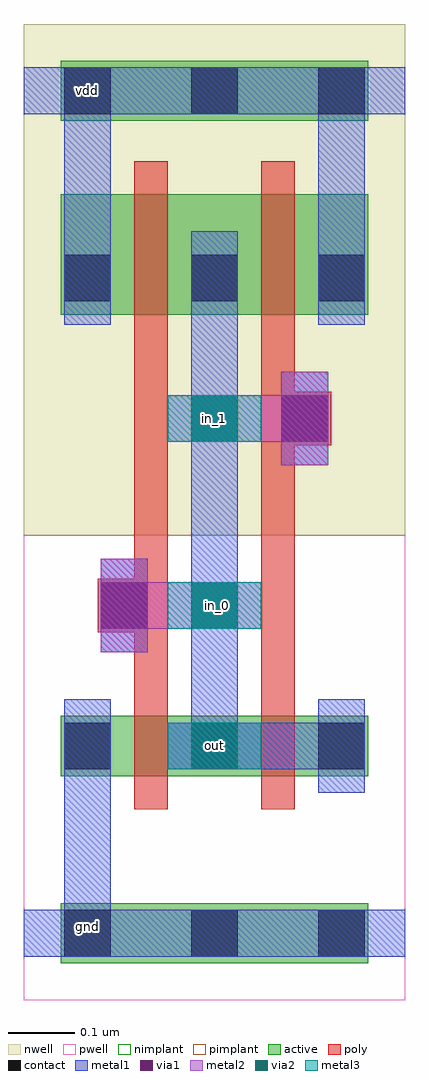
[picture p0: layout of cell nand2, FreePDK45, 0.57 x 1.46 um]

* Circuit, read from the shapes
.subckt nand2 gnd in_0 in_1 out vdd
M1 n1 in_0 gnd gnd nfet w=0.09u l=0.05u
M2 out in_1 n1 gnd nfet w=0.09u l=0.05u
M3 out in_0 vdd vdd pfet w=0.18u l=0.05u
M4 vdd in_1 out vdd pfet w=0.18u l=0.05u
.ends

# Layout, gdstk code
import gdstk
lib = gdstk.Library(unit=1e-6, precision=5e-10)
def R(c, l, rs):  # rectangles x0, y0, x1, y1
    for r in rs: c.add(gdstk.rectangle(r[:2], r[2:], *l))
def A(c, l, x, y, w, h, nx, ny, dx, dy):  # array of equal rectangles
    R(c, l, [(x+i*dx, y+j*dy, x+i*dx+w, y+j*dy+h) for i in range(nx) for j in range(ny)])
active = (1, 0)
pwell = (2, 0)
nwell = (3, 0)
nimplant = (4, 0)
pimplant = (5, 0)
poly = (9, 0)
contact = (10, 0)
metal1 = (11, 0)
via1 = (12, 0)
metal2 = (13, 0)
via2 = (14, 0)
metal3 = (15, 0)

nand2 = lib.new_cell('nand2')
R(nand2, active, [(0.055,-0.045,0.515,0.045), (0.055,0.235,0.515,0.325), (0.055,0.925,0.515,1.105), (0.055,1.215,0.515,1.305)])
R(nand2, pwell, [(0,-0.1,0.57,0.595)])
R(nand2, nwell, [(0,0.595,0.57,1.36)])
R(nand2, nimplant, [(0.055,0.235,0.515,0.325), (0.055,1.215,0.515,1.305)])
R(nand2, pimplant, [(0.055,-0.045,0.515,0.045), (0.055,0.925,0.515,1.105)])
R(nand2, poly, [(0.165,0.185,0.215,1.155), (0.355,0.185,0.405,1.155), (0.11,0.45,0.165,0.53), (0.405,0.73,0.46,0.81)])
A(nand2, contact, 0.06, -0.035, 0.07, 0.07, 3, 2, 0.19, 0.98)
A(nand2, contact, 0.06, 1.225, 0.07, 0.07, 3, 1, 0.19, 0)
R(nand2, contact, [(0.06,0.245,0.13,0.315), (0.44,0.245,0.51,0.315), (0.115,0.455,0.185,0.525), (0.385,0.735,0.455,0.805)])
R(nand2, metal1, [(0,-0.035,0.57,0.035), (0.06,0.035,0.13,0.35), (0.44,0.21,0.51,0.35), (0.215,0.245,0.44,0.315), (0.25,0.315,0.32,1.05), (0.115,0.42,0.185,0.56), (0.385,0.7,0.455,0.84), (0.06,0.91,0.13,1.225), (0.44,0.91,0.51,1.225), (0,1.225,0.57,1.295)])
R(nand2, via1, [(0.25,0.245,0.32,0.315), (0.115,0.455,0.185,0.525), (0.385,0.735,0.455,0.805)])
R(nand2, metal2, [(0.215,0.245,0.355,0.315), (0.115,0.42,0.185,0.56), (0.185,0.455,0.355,0.525), (0.385,0.7,0.455,0.84), (0.215,0.735,0.385,0.805)])
R(nand2, via2, [(0.25,0.245,0.32,0.315), (0.25,0.455,0.32,0.525), (0.25,0.735,0.32,0.805)])
R(nand2, metal3, [(0.215,0.245,0.355,0.315), (0.215,0.455,0.355,0.525), (0.215,0.735,0.355,0.805)])
nand2.add(gdstk.Label('vdd', (0.095,1.26), layer=11, texttype=0))
nand2.add(gdstk.Label('gnd', (0.095,0.01), layer=11, texttype=0))
nand2.add(gdstk.Label('in_1', (0.285,0.77), layer=15, texttype=0))
nand2.add(gdstk.Label('out', (0.285,0.28), layer=15, texttype=0))
nand2.add(gdstk.Label('in_0', (0.29,0.49), layer=15, texttype=0))

lib.write_gds('nand2.gds')
